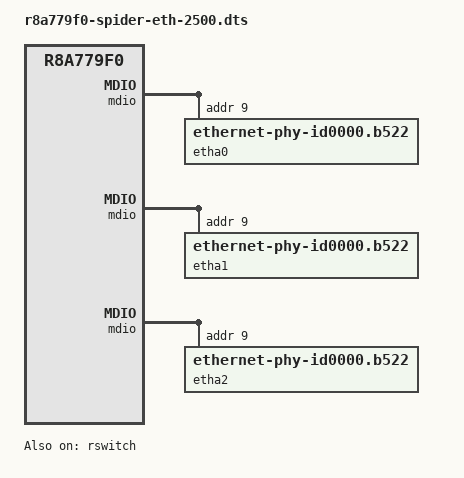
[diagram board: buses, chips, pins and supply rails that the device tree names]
// SPDX-License-Identifier: GPL-2.0
/*
 * Device Tree Source for the Spider Ethernet 2.5G
 * expansion sub-board
 * Copyright (C) 2023 Renesas Electronics Corp.
 */

/dts-v1/;
#include "r8a779f0-spider-cpu.dtsi"
#include "r8a779f0-spider-ethernet.dtsi"

&rswitch {
	pinctrl-0 = <&tsn0_pins>, <&tsn1_pins>, <&tsn2_pins>;
	pinctrl-names = "default";
	phy-mode = "5gbase-r";
	status = "okay";

	ethernet-ports {
		#address-cells = <1>;
		#size-cells = <0>;

		port@0 {
			reg = <0>;
			phy-handle = <&etha0>;

			mdio {
				#address-cells = <1>;
				#size-cells = <0>;

				etha0: ethernet-phy@1 {
					reg = <9>;
					compatible = "ethernet-phy-id0000.b522",
						     "ethernet-phy-ieee802.3-c22";
				};
			};
		};
		port@1 {
			reg = <1>;
			phy-handle = <&etha1>;

			mdio {
				#address-cells = <1>;
				#size-cells = <0>;

				etha1: ethernet-phy@2 {
					reg = <9>;
					compatible = "ethernet-phy-id0000.b522",
						     "ethernet-phy-ieee802.3-c22";
				};
			};
		};
		port@2 {
			reg = <2>;
			phy-handle = <&etha2>;

			mdio {
				#address-cells = <1>;
				#size-cells = <0>;

				etha2: ethernet-phy@3 {
					reg = <9>;
					compatible = "ethernet-phy-id0000.b522",
						     "ethernet-phy-ieee802.3-c22";
				};
			};
		};
	};
};
